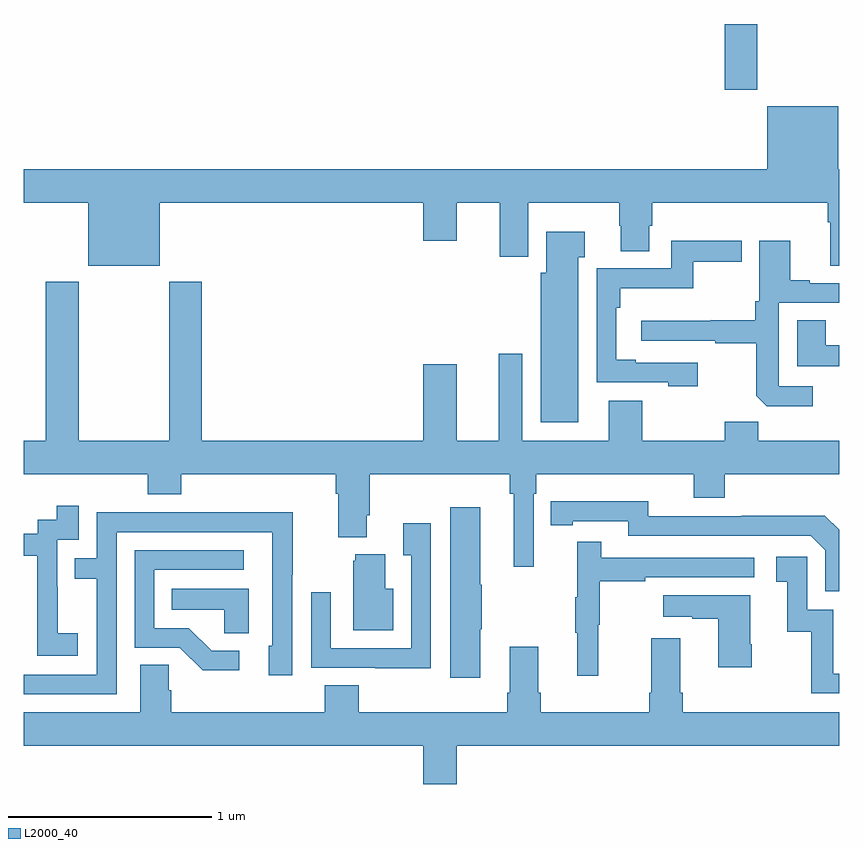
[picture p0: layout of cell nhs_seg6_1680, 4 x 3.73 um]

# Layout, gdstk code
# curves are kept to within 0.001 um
import gdstk
lib = gdstk.Library(unit=1e-6, precision=1e-09)
def R(c, l, rs):  # rectangles x0, y0, x1, y1
    for r in rs: c.add(gdstk.rectangle(r[:2], r[2:], *l))
def P(c, l, *ps):  # polygons
    for p in ps: c.add(gdstk.Polygon(p, *l))
L2000_40 = (2000, 40)

nhs_seg6_1680 = lib.new_cell('nhs_seg6_1680')
R(nhs_seg6_1680, L2000_40, [(214.439,993.177,214.599,993.5)])
P(nhs_seg6_1680, L2000_40, [(215,992.788),(214.996,992.788),(214.996,993.097),(214.646,993.097),(214.646,992.788),(211,992.788),(211,992.624),(211.316,992.624),(211.316,992.315),(211.666,992.315),(211.666,992.624),(212.96,992.624),(212.96,992.436),(213.124,992.436),(213.124,992.624),(213.335,992.624),(213.335,992.358),(213.475,992.358),(213.475,992.624),(213.922,992.624),(213.922,992.511),(213.929,992.511),(213.929,992.386),(214.069,992.386),(214.069,992.511),(214.082,992.511),(214.082,992.624),(214.943,992.624),(214.943,992.528),(214.955,992.528),(214.955,992.314),(215,992.314)],
  [(213.721,992.357),(213.751,992.357),(213.751,992.482),(213.563,992.482),(213.563,992.28),(213.536,992.28),(213.536,991.547),(213.721,991.547)],
  [(214.306,991.839),(214.003,991.839),(214.003,991.852),(213.906,991.852),(213.906,992.108),(213.926,992.108),(213.926,992.204),(214.285,992.204),(214.285,992.335),(214.522,992.335),(214.522,992.438),(214.176,992.438),(214.176,992.301),(213.81,992.301),(213.81,991.743),(214.161,991.743),(214.161,991.724),(214.306,991.724)],
  [(214.87,991.722),(214.704,991.722),(214.704,992.133),(215,992.133),(215,992.229),(214.855,992.229),(214.855,992.242),(214.759,992.242),(214.759,992.437),(214.608,992.437),(214.608,992.14),(214.588,992.14),(214.588,992.048),(214.369,992.048),(214.369,992.044),(214.029,992.044),(214.029,991.947),(214.393,991.947),(214.393,991.935),(214.593,991.935),(214.593,991.677),(214.645,991.626),(214.87,991.626)],
  [(213.501,991.196),(213.515,991.196),(213.515,991.292),(214.286,991.292),(214.286,991.175),(214.439,991.175),(214.439,991.292),(215,991.292),(215,991.456),(214.603,991.456),(214.603,991.549),(214.439,991.549),(214.439,991.456),(214.033,991.456),(214.033,991.651),(213.869,991.651),(213.869,991.456),(213.445,991.456),(213.445,991.882),(213.329,991.882),(213.329,991.456),(213.124,991.456),(213.124,991.831),(212.96,991.831),(212.96,991.456),(211.874,991.456),(211.874,992.236),(211.714,992.236),(211.714,991.456),(211.269,991.456),(211.269,992.236),(211.109,992.236),(211.109,991.456),(211,991.456),(211,991.292),(211.607,991.292),(211.607,991.193),(211.772,991.193),(211.772,991.292),(212.531,991.292),(212.531,991.196),(212.543,991.196),(212.543,990.983),(212.683,990.983),(212.683,991.09),(212.696,991.09),(212.696,991.292),(213.385,991.292),(213.385,991.196),(213.404,991.196),(213.404,990.837),(213.501,990.837)],
  [(215,991.923),(214.933,991.923),(214.933,992.048),(214.793,992.048),(214.793,991.822),(215,991.822)],
  [(215,991.018),(214.93,991.088),(214.522,991.088),(214.522,991.086),(214.062,991.086),(214.062,991.159),(213.586,991.158),(213.586,991.042),(213.694,991.042),(213.694,991.062),(213.966,991.062),(213.966,990.99),(214.86,990.99),(214.932,990.918),(214.932,990.717),(215,990.717)],
  [(211.264,990.511),(211.166,990.511),(211.166,990.74),(211.164,990.74),(211.164,990.969),(211.269,990.969),(211.269,991.138),(211.161,991.138),(211.161,991.068),(211.068,991.068),(211.068,990.999),(211,990.999),(211,990.891),(211.067,990.891),(211.067,990.607),(211.066,990.607),(211.066,990.401),(211.264,990.401)],
  [(213.238,990.532),(213.246,990.532),(213.246,990.749),(213.238,990.749),(213.238,991.129),(213.092,991.129),(213.092,990.294),(213.238,990.294)],
  [(211.455,991.008),(212.22,991.008),(212.22,990.45),(212.201,990.45),(212.201,990.306),(212.316,990.306),(212.316,990.799),(212.319,990.799),(212.319,991.106),(211.855,991.106),(211.855,991.104),(211.359,991.104),(211.359,990.879),(211.249,990.879),(211.249,990.778),(211.359,990.778),(211.359,990.309),(211,990.309),(211,990.213),(211.455,990.213)],
  [(212.997,991.051),(212.861,991.051),(212.861,990.895),(212.901,990.895),(212.901,990.438),(212.505,990.438),(212.505,990.712),(212.409,990.712),(212.409,990.342),(212.725,990.342),(212.725,990.341),(212.997,990.341)],
  [(213.818,990.552),(213.826,990.552),(213.826,990.766),(214.049,990.766),(214.049,990.786),(214.582,990.786),(214.582,990.882),(213.833,990.882),(213.833,990.961),(213.716,990.961),(213.716,990.689),(213.705,990.689),(213.705,990.515),(213.716,990.515),(213.716,990.303),(213.818,990.303)],
  [(212.056,990.426),(211.921,990.426),(211.81,990.537),(211.641,990.537),(211.641,990.822),(212.08,990.822),(212.08,990.918),(211.545,990.918),(211.545,990.441),(211.764,990.441),(211.877,990.329),(212.056,990.329)],
  [(212.812,990.73),(212.773,990.73),(212.773,990.898),(212.627,990.898),(212.627,990.867),(212.615,990.867),(212.615,990.527),(212.812,990.527)],
  [(215,990.312),(214.971,990.312),(214.971,990.627),(214.842,990.627),(214.842,990.886),(214.692,990.886),(214.692,990.765),(214.745,990.765),(214.745,990.519),(214.863,990.519),(214.863,990.216),(215,990.216)],
  [(212.104,990.73),(211.726,990.73),(211.726,990.626),(211.983,990.626),(211.983,990.511),(212.104,990.511)],
  [(214.572,990.457),(214.564,990.457),(214.564,990.697),(214.137,990.697),(214.137,990.593),(214.28,990.593),(214.28,990.583),(214.406,990.583),(214.406,990.345),(214.572,990.345)],
  [(213.124,989.96),(215,989.96),(215,990.124),(214.232,990.124),(214.232,990.22),(214.219,990.22),(214.219,990.487),(214.079,990.487),(214.079,990.22),(214.067,990.22),(214.067,990.124),(213.536,990.124),(213.536,990.22),(213.523,990.22),(213.523,990.445),(213.383,990.445),(213.383,990.22),(213.371,990.22),(213.371,990.124),(212.642,990.124),(212.642,990.257),(212.477,990.257),(212.477,990.124),(211.724,990.124),(211.724,990.233),(211.71,990.233),(211.71,990.356),(211.571,990.356),(211.571,990.124),(211,990.124),(211,989.96),(212.96,989.96),(212.96,989.772),(213.124,989.772)])

lib.write_gds('nhs_seg6_1680.gds')
